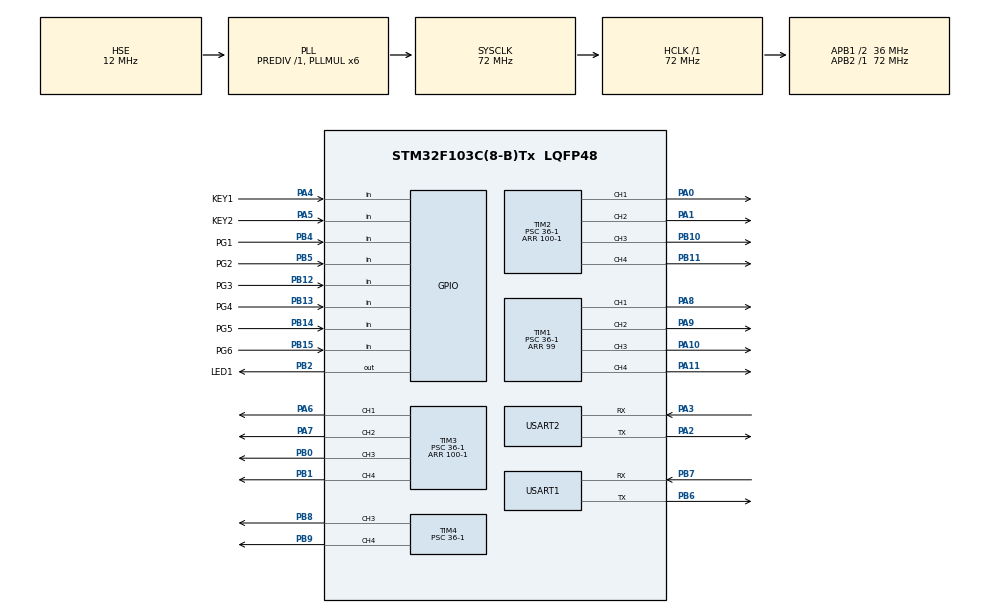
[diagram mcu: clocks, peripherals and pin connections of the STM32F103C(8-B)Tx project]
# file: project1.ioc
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Dma.Request0=USART1_RX
Dma.Request1=USART2_RX
Dma.USART1_RX.0.Direction=DMA_PERIPH_TO_MEMORY
Dma.USART1_RX.0.Instance=DMA1_Channel5
Dma.USART1_RX.0.MemDataAlignment=DMA_MDATAALIGN_BYTE
Dma.USART1_RX.0.MemInc=DMA_MINC_ENABLE
Dma.USART1_RX.0.Mode=DMA_NORMAL
Dma.USART1_RX.0.PeriphDataAlignment=DMA_PDATAALIGN_BYTE
Dma.USART1_RX.0.PeriphInc=DMA_PINC_DISABLE
Dma.USART1_RX.0.Priority=DMA_PRIORITY_LOW
Dma.USART2_RX.1.Direction=DMA_PERIPH_TO_MEMORY
Dma.USART2_RX.1.Instance=DMA1_Channel6
Dma.USART2_RX.1.MemDataAlignment=DMA_MDATAALIGN_BYTE
Dma.USART2_RX.1.MemInc=DMA_MINC_ENABLE
Dma.USART2_RX.1.Mode=DMA_NORMAL
Dma.USART2_RX.1.PeriphDataAlignment=DMA_PDATAALIGN_BYTE
Dma.USART2_RX.1.PeriphInc=DMA_PINC_DISABLE
Dma.USART2_RX.1.Priority=DMA_PRIORITY_LOW
Mcu.Family=STM32F1
Mcu.Name=STM32F103C(8-B)Tx
Mcu.Package=LQFP48
NVIC.DMA1_Channel5_IRQn=true\:0\:0\:false\:false\:true\:false\:true\:true
NVIC.DMA1_Channel6_IRQn=true\:0\:0\:false\:false\:true\:false\:true\:true
NVIC.PriorityGroup=NVIC_PRIORITYGROUP_4
NVIC.TIM4_IRQn=true\:1\:0\:true\:false\:true\:true\:true\:true
NVIC.USART1_IRQn=true\:2\:0\:true\:false\:true\:true\:true\:true
NVIC.USART2_IRQn=true\:3\:0\:true\:false\:true\:true\:true\:true
PA0-WKUP.Signal=S_TIM2_CH1_ETR
PA1.Signal=S_TIM2_CH2
PA10.Signal=S_TIM1_CH3
PA11.Signal=S_TIM1_CH4
PA13.Mode=Serial_Wire
PA13.Signal=SYS_JTMS-SWDIO
PA14.Mode=Serial_Wire
PA14.Signal=SYS_JTCK-SWCLK
PA2.Mode=Asynchronous
PA2.Signal=USART2_TX
PA3.Mode=Asynchronous
PA3.Signal=USART2_RX
PA4.GPIO_Label=KEY1
PA4.GPIO_PuPd=GPIO_PULLUP
PA4.Signal=GPIO_Input
PA5.GPIO_Label=KEY2
PA5.GPIO_PuPd=GPIO_PULLUP
PA5.Signal=GPIO_Input
PA6.Signal=S_TIM3_CH1
PA7.Signal=S_TIM3_CH2
PA8.Signal=S_TIM1_CH1
PA9.Signal=S_TIM1_CH2
PB0.Signal=S_TIM3_CH3
PB1.Signal=S_TIM3_CH4
PB10.Signal=S_TIM2_CH3
PB11.Signal=S_TIM2_CH4
PB12.GPIO_Label=PG3
PB12.GPIO_PuPd=GPIO_PULLUP
PB12.Signal=GPIO_Input
PB13.GPIO_Label=PG4
PB13.GPIO_PuPd=GPIO_PULLUP
PB13.Signal=GPIO_Input
PB14.GPIO_Label=PG5
PB14.GPIO_PuPd=GPIO_PULLUP
PB14.Signal=GPIO_Input
PB15.GPIO_Label=PG6
PB15.GPIO_PuPd=GPIO_PULLUP
PB15.Signal=GPIO_Input
PB2.GPIO_Label=LED1
PB2.GPIO_PuPd=GPIO_NOPULL
PB2.PinState=GPIO_PIN_SET
PB2.Signal=GPIO_Output
PB4.GPIO_Label=PG1
PB4.GPIO_PuPd=GPIO_PULLUP
PB4.Signal=GPIO_Input
PB5.GPIO_Label=PG2
PB5.GPIO_PuPd=GPIO_PULLUP
PB5.Signal=GPIO_Input
PB6.Mode=Asynchronous
PB6.Signal=USART1_TX
PB7.Mode=Asynchronous
PB7.Signal=USART1_RX
PB8.Signal=S_TIM4_CH3
PB9.Signal=S_TIM4_CH4
PD0-OSC_IN.Mode=HSE-External-Oscillator
PD0-OSC_IN.Signal=RCC_OSC_IN
PD1-OSC_OUT.Mode=HSE-External-Oscillator
PD1-OSC_OUT.Signal=RCC_OSC_OUT
ProjectManager.HeapSize=0x200
ProjectManager.StackSize=0x400
ProjectManager.TargetToolchain=STM32CubeIDE
RCC.AHBFreq_Value=72000000
RCC.APB1CLKDivider=RCC_HCLK_DIV2
RCC.APB1Freq_Value=36000000
RCC.APB1TimFreq_Value=72000000
RCC.APB2Freq_Value=72000000
RCC.APB2TimFreq_Value=72000000
RCC.HCLKFreq_Value=72000000
RCC.HSE_VALUE=12000000
RCC.PLLMUL=RCC_PLL_MUL6
RCC.PLLSourceVirtual=RCC_PLLSOURCE_HSE
RCC.SYSCLKFreq_VALUE=72000000
RCC.SYSCLKSource=RCC_SYSCLKSOURCE_PLLCLK
RCC.USBFreq_Value=72000000
SH.S_TIM1_CH1.0=TIM1_CH1,PWM Generation1 CH1
SH.S_TIM1_CH2.0=TIM1_CH2,PWM Generation2 CH2
SH.S_TIM1_CH3.0=TIM1_CH3,PWM Generation3 CH3
SH.S_TIM1_CH4.0=TIM1_CH4,PWM Generation4 CH4
SH.S_TIM2_CH1_ETR.0=TIM2_CH1,PWM Generation1 CH1
SH.S_TIM2_CH2.0=TIM2_CH2,PWM Generation2 CH2
SH.S_TIM2_CH3.0=TIM2_CH3,PWM Generation3 CH3
SH.S_TIM2_CH4.0=TIM2_CH4,PWM Generation4 CH4
SH.S_TIM3_CH1.0=TIM3_CH1,PWM Generation1 CH1
SH.S_TIM3_CH2.0=TIM3_CH2,PWM Generation2 CH2
SH.S_TIM3_CH3.0=TIM3_CH3,PWM Generation3 CH3
SH.S_TIM3_CH4.0=TIM3_CH4,PWM Generation4 CH4
SH.S_TIM4_CH3.0=TIM4_CH3,PWM Generation3 CH3
SH.S_TIM4_CH4.0=TIM4_CH4,PWM Generation4 CH4
TIM1.Channel-PWM\ Generation1\ CH1=TIM_CHANNEL_1
TIM1.Channel-PWM\ Generation2\ CH2=TIM_CHANNEL_2
TIM1.Channel-PWM\ Generation3\ CH3=TIM_CHANNEL_3
TIM1.Channel-PWM\ Generation4\ CH4=TIM_CHANNEL_4
TIM1.Period=99
TIM1.Prescaler=36-1
TIM2.Channel-PWM\ Generation1\ CH1=TIM_CHANNEL_1
TIM2.Channel-PWM\ Generation2\ CH2=TIM_CHANNEL_2
TIM2.Channel-PWM\ Generation3\ CH3=TIM_CHANNEL_3
TIM2.Channel-PWM\ Generation4\ CH4=TIM_CHANNEL_4
TIM2.Period=100-1
TIM2.Prescaler=36-1
TIM3.Channel-PWM\ Generation1\ CH1=TIM_CHANNEL_1
TIM3.Channel-PWM\ Generation2\ CH2=TIM_CHANNEL_2
TIM3.Channel-PWM\ Generation3\ CH3=TIM_CHANNEL_3
TIM3.Channel-PWM\ Generation4\ CH4=TIM_CHANNEL_4
TIM3.Period=100-1
TIM3.Prescaler=36-1
TIM4.Channel-PWM\ Generation3\ CH3=TIM_CHANNEL_3
TIM4.Channel-PWM\ Generation4\ CH4=TIM_CHANNEL_4
TIM4.Period=100-1
TIM4.Prescaler=36-1
USART1.VirtualMode=VM_ASYNC
USART2.VirtualMode=VM_ASYNC
VP_TIM1_VS_ClockSourceINT.Mode=Internal
VP_TIM2_VS_ClockSourceINT.Mode=Internal
VP_TIM3_VS_ClockSourceINT.Mode=Internal
VP_TIM4_VS_ClockSourceINT.Mode=Internal
board=custom

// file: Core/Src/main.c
/* USER CODE BEGIN Header */
/**
  ******************************************************************************
  * @file           : main.c
  * @brief          : Main program body
  ******************************************************************************
  * @attention
  *
  * Copyright (c) 2025 STMicroelectronics.
  * All rights reserved.
  *
  * This software is licensed under terms that can be found in the LICENSE file
  * in the root directory of this software component.
  * If no LICENSE file comes with this software, it is provided AS-IS.
  *
  ******************************************************************************
  */
/* USER CODE END Header */
#include "main.h"
#include "dma.h"
#include "tim.h"
#include "usart.h"
#include "gpio.h"

/* USER CODE BEGIN Includes */
#include "pump.h"
#include "command.h"
#include "motor.h"
#include "string.h"
#include <stdio.h>
/* USER CODE END Includes */

/* USER CODE BEGIN PV */
//extern bool flag_PG[PG_Z_Number];

/* USER CODE END PV */

void SystemClock_Config(void);

int main(void)
{

  /* MCU Configuration--------------------------------------------------------*/

  /* Reset of all peripherals, Initializes the Flash interface and the Systick. */
  HAL_Init();

  /* Configure the system clock */
  SystemClock_Config();

  /* Initialize all configured peripherals */
  MX_GPIO_Init();
  MX_DMA_Init();
  MX_TIM1_Init();
  MX_TIM2_Init();
  MX_TIM3_Init();
  MX_TIM4_Init();
  MX_USART1_UART_Init();
  MX_USART2_UART_Init();
  /* USER CODE BEGIN 2 */
    HAL_Delay(2000);
    //测试

    HAL_TIM_PWM_Start(&htim1, TIM_CHANNEL_1);
    HAL_TIM_PWM_Start(&htim1, TIM_CHANNEL_2);
    HAL_TIM_PWM_Start(&htim1, TIM_CHANNEL_3);
    HAL_TIM_PWM_Start(&htim1, TIM_CHANNEL_4);
    HAL_TIM_PWM_Start(&htim2, TIM_CHANNEL_1);
    HAL_TIM_PWM_Start(&htim2, TIM_CHANNEL_2);
    HAL_TIM_PWM_Start(&htim2, TIM_CHANNEL_3);
    HAL_TIM_PWM_Start(&htim2, TIM_CHANNEL_4);
    HAL_TIM_PWM_Start(&htim3, TIM_CHANNEL_1);
    HAL_TIM_PWM_Start(&htim3, TIM_CHANNEL_2);
    HAL_TIM_PWM_Start(&htim3, TIM_CHANNEL_3);
    HAL_TIM_PWM_Start(&htim3, TIM_CHANNEL_4);
    HAL_TIM_PWM_Start(&htim4, TIM_CHANNEL_1);
    HAL_TIM_PWM_Start(&htim4, TIM_CHANNEL_2);
    HAL_TIM_PWM_Start(&htim4, TIM_CHANNEL_3);
    HAL_TIM_PWM_Start(&htim4, TIM_CHANNEL_4);

    motor_no();
    pump_set_no();

//    uint8_t message1[]={0xB8,0xB4,0xCE,0xBB,0xD6,0xD0};
//    sendMessage(message1,6);
//    HAL_Delay(100000);
//    motor_forward();
//    HAL_Delay(3000);
//    motor_no();

//    pump_set_no();
//    pump_set_no();
//    motor_forward();
//    HAL_Delay(2000);
//    motor_back();
//    HAL_Delay(2000);
//    motor_no();
//    HAL_Delay(10000);
//    UART_Command_Init();

//    while (1)
//    {
//        HAL_Delay(1000);
//        HAL_GPIO_TogglePin(LED1_GPIO_Port,LED1_Pin);
//        uint8_t temp[32]={};
//        sprintf(temp,"abccd");
//        HAL_UART_Transmit(&huart2,temp,4,1000);
//        PG_read_motor();
//        for(int i=0;i<4;i++) {
//            if (flag_PG_motor[i]) {
//                sprintf(temp, "%d=high",i);
//                HAL_UART_Transmit(&huart2, (uint8_t *) temp, 10, 1000);
//            }
//            else {
//                sprintf(temp, "%d=low",i);
//                HAL_UART_Transmit(&huart2, (uint8_t *) temp, 10, 1000);
//            }
//        }
//        PG_read_pump();
//        for(int i=0;i<2;i++) {
//            if (flag_PG_pump[i]) {
//                sprintf(temp, "aa%d=low",i);
//                HAL_UART_Transmit(&huart2, (uint8_t *) temp, 10, 1000);
//            }
//            else {
//                sprintf(temp, "aa%d=high",i);
//                HAL_UART_Transmit(&huart2, (uint8_t *) temp, 10, 1000);
//            }
//        }
//    }

//    __HAL_TIM_SET_COMPARE(&htim4, TIM_CHANNEL_3, 50);
//    __HAL_TIM_SET_COMPARE(&htim4, TIM_CHANNEL_4, 50);
//    HAL_Delay(100000);

//    motor_back();
//    HAL_Delay(5000);
//    motor_forward();
//    pump_set_out();
//    HAL_Delay(100000);
//    motor_back();
//    HAL_Delay(8000);
//    motor_no();
//    HAL_Delay(4000000);
//    motor_back();
//    HAL_Delay(10000);
//    motor_no();
//    HAL_Delay(4000);
//    motor_forward();
//    HAL_Delay(5000);
    PG_read_motor();
    PG_read_pump();
    HAL_Delay(100);
    UART_Command_Init();
    uint8_t message[]={0xB8,0xB4,0xCE,0xBB,0xD6,0xD0};
    sendMessage(message,6);
    HAL_Delay(1);
    sendMessage(message,6);
    //已到达位置
    if(flag_PG_motor[3])
    {

    }
    //未到达初始位置
    else
    {
        //中文：复位中
        uint8_t message[]={0xB8,0xB4,0xCE,0xBB,0xD6,0xD0};
        sendMessage(message,6);
        HAL_Delay(1);
        sendMessage(message,6);
        motor_back();
        uint32_t time_count=0;
        while (!flag_PG_motor[3])
        {
            PG_read_motor();
            if(flag_PG_motor[0]||flag_PG_motor[1]||flag_PG_motor[2])
                break;
            HAL_Delay(10);
            time_count+=10;
            if(time_count>50000)
                break;
        }
        motor_no();

        motor_forward();
        while (!flag_PG_motor[3])
        {
            PG_read_motor();
            HAL_Delay(10);
        }
        motor_no();
    }

    // 中文：复位完成
    HAL_Delay(100);
    uint8_t message1[]={0xB8,0xB4,0xCE,0xBB,0xCD,0xEA,0xB3,0xC9
    };
    sendMessage(message1,8);
    HAL_Delay(10);
    uint8_t message_1[]={0xB8,0xB4,0xCE,0xBB,0xCD,0xEA,0xB3,0xC9
    };
    sendMessage(message_1,8);
    HAL_Delay(10);

    //WriteToFlash((uint32_t*)&pump_delay_time_50[0], (uint32_t*)&pump_delay_time_100[0]);
    ReadFromFlash((uint32_t*)&pump_delay_time_50[0], (uint32_t*)&pump_delay_time_100[0]);

    /*******/
  /* USER CODE END 2 */

  /* Infinite loop */
  while (1)
  {

    /* USER CODE BEGIN 3 */
//      HAL_Delay(100000000);
    //假设收到命令，开始工作
//    if(flag_200||flag_100||flag_50) {
//        while (1) {
//            PG_read_pump();
//            // 说明此时Y轴并没有到达合适位置
//            if (!flag_PG_pump[1]) {
//
//                //屏幕显示，或者蜂鸣器叫之类的
//                page_warn();
//                flag_100 = false;
//                flag_200 = false;
//                flag_50 = false;
//                break;
//            } else {
//                break;
//            }
//            HAL_Delay(200);
//        }
//
//        // Z轴开始下降
//        if (flag_200) {
//            motor_back();
////            while ((!flag_PG_motor[2])&&flag_200) {
//            while ((!flag_PG_motor[1])&&flag_200) {
//                PG_read_motor();
//                HAL_Delay(10);
//            }
//            motor_no();
//        } else if (flag_100) {
//            motor_back();
////            while ((!flag_PG_motor[1])&&flag_100) {
//            while ((!flag_PG_motor[0])&&flag_100) {
//                PG_read_motor();
//                HAL_Delay(10);
//            }
//            motor_no();
//        }else if (flag_50) {
//            motor_back();
////            while ((!flag_PG_motor[1])&&flag_100) {
//            while ((!flag_PG_motor[2])&&flag_50) {
//                PG_read_motor();
//                HAL_Delay(10);
//            }
//            motor_no();
//        }
//
//        if (flag_200 || flag_100 || flag_50) {
//            //下降完成后，开始吸
//            pump_set_in();
//            //中文：抽取中
//            uint8_t message[] = {0xB3, 0xE9, 0xC8, 0xA1, 0xD6, 0xD0};
//            sendMessage(message, 6);
//            // 这里要等待一个标志位，等待人把打开漏斗阀门,收取沉淀液；
//            while ((!flag_xiqu)&&(flag_200 || flag_100|| flag_50)) {
//                HAL_Delay(10);
//
//            }
//            pump_set_no();
//            if(flag_200 || flag_100|| flag_50){
//                pump_set_no();
//                HAL_Delay(100);
//                // 中文：等待用户操作
//                uint8_t message[] = {0xB5, 0xC8, 0xB4, 0xFD, 0xD3, 0xC3, 0xBB, 0xA7, 0xB2, 0xD9, 0xD7, 0xF7
//                };
//                sendMessage(message, 12);
//            }
//            while ((!flag_shouqu)&&(flag_200 || flag_100|| flag_50)) {
//                HAL_Delay(10);
//            }
//            if(flag_200 || flag_100|| flag_50) {
//                //中文：清洗中
//                uint8_t message_q[] = {0xC7, 0xE5, 0xCF, 0xB4, 0xD6, 0xD0
//                };
//                sendMessage(message_q, 6);
//                // 接下来下降
//                motor_back();
//            }
//            while ((!flag_PG_motor[0])&&(flag_200 || flag_100|| flag_50)) {
//                PG_read_motor();
//                HAL_Delay(10);
//            }
//            if(flag_200 || flag_100|| flag_50) {
//                motor_no();
//                //接下来 开始喷水5s；
//                pump_set_out();
//
//                uint16_t time=0;
//                while (time<10000 && (flag_200 || flag_100|| flag_50))
//                {
//                    HAL_Delay(100);
//                    time+=100;
//                }
//                //接下来开始上升，同时喷水
//                if (flag_200 || flag_100|| flag_50)
//                    motor_forward();
//            }
//            //上升到200ml
////            while ((!flag_PG_motor[2]) &&(flag_200 || flag_100)){
//            while ((!flag_PG_motor[2]) &&(flag_200 || flag_100|| flag_50)){
//                PG_read_motor();
//                HAL_Delay(10);
//            }
//            if(flag_200 || flag_100|| flag_50) {
//                HAL_Delay(400);
//                pump_set_no();
//            }
//            //接下来上升到最高处即初始复位位置即可
//            while ((!flag_PG_motor[3])&&(flag_200 || flag_100|| flag_50)) {
//                PG_read_motor();
//                HAL_Delay(10);
//            }
//            if(flag_200 || flag_100|| flag_50) {
//                //清掉一些标志量，同时控制屏幕显示，或者蜂鸣器
//                HAL_UART_Transmit(&huart2, (uint8_t *) "end", 10, 1000);
//                // 中文：操作完成
//                uint8_t message_f[] = {0xB2, 0xD9, 0xD7, 0xF7, 0xCD, 0xEA, 0xB3, 0xC9
//                };
//                sendMessage(message_f, 8);
//            }
//        }
//        // 中文：操作完成
//        uint8_t message_f[] = {0xB2, 0xD9, 0xD7, 0xF7, 0xCD, 0xEA, 0xB3, 0xC9
//        };
//        sendMessage(message_f, 8);
//        motor_no();
//        pump_set_no();
//        flag_200 = false;
//        flag_100 = false;
//        flag_50 = false;
//        flag_shouqu = false;
//        flag_xiqu = false;
//    }
      if(flag_reset)
      {
          __set_FAULTMASK(1);
          HAL_NVIC_SystemReset();
      }
      if(flag_200||flag_100||flag_50) {
//          while (1) {
//              PG_read_pump();
//              // 说明此时Y轴并没有到达合适位置
//              if (!flag_PG_pump[1]) {
//
//                  //屏幕显示，或者蜂鸣器叫之类的
//                  page_warn();
//                  flag_100 = false;
//                  flag_200 = false;
//                  flag_50 = false;
//                  break;
//              } else {
//                  break;
//              }
//              HAL_Delay(200);
//          }

//          pump_test();
//
//          motor_back();
////            while ((!flag_PG_motor[2])&&flag_200) {
//              while ((!flag_PG_motor[2])&&flag_50) {
//                  PG_read_motor();
//                  HAL_Delay(10);
//              }

//            motor_no_no_delay();
//              pump_set_in();
//          HAL_Delay(10000);
//              pump_set_no();
//          HAL_Delay(1000);
//              pump_set_out_different_times();
//          HAL_Delay(6000);

          // Z轴开始下降
          if (flag_200) {
              motor_back();
//            while ((!flag_PG_motor[2])&&flag_200) {
              while ((!flag_PG_motor[1])&&flag_200) {
                  PG_read_motor();
                  HAL_Delay(1);
              }
              motor_no();
          } else if (flag_100) {
              motor_back();
//            while ((!flag_PG_motor[1])&&flag_100) {
              while ((!flag_PG_motor[1])&&flag_100) {
                  PG_read_motor();
                  HAL_Delay(1);
              }
              HAL_Delay(50);
              while ((flag_PG_motor[1])&&flag_100) {
                  PG_read_motor();
                  HAL_Delay(1);
              }
              motor_no();
              motor_forward();
              while ((!flag_PG_motor[1])&&flag_100) {
                  PG_read_motor();
                  HAL_Delay(1);
              }
              motor_no_no_delay();
          }else if (flag_50) {
              motor_back();
//            while ((!flag_PG_motor[1])&&flag_100) {
              while ((!flag_PG_motor[0])&&flag_50) {
                  PG_read_motor();
                  HAL_Delay(1);
              }
              motor_no_no_delay();
          }

          if (flag_200 || flag_100 || flag_50) {
              //下降完成后，开始吸
              pump_set_in();
              //中文：抽取中
              uint8_t message[] = {0xB3, 0xE9, 0xC8, 0xA1, 0xD6, 0xD0};
              sendMessage(message, 6);
              // 时间需要修改
              uint32_t delay_time=180000;
              uint32_t time_count=0;
              while (time_count<delay_time&&(flag_200 || flag_100|| flag_50))
              {
                  HAL_Delay(10);
                  time_count+=10;
              }

              if(flag_200 || flag_100|| flag_50) {
                  pump_set_no();
              }
              if(flag_200 || flag_100|| flag_50) {
                  //中文：清洗中
                  uint8_t message_q[] = {0xC7, 0xE5, 0xCF, 0xB4, 0xD6, 0xD0
                  };
                  sendMessage(message_q, 6);
                  // 接下来上升
                  motor_forward();
                  while ((!flag_PG_motor[2])&&(flag_200 || flag_100|| flag_50)) {
                      PG_read_motor();
                      HAL_Delay(10);
                  }
                  motor_no_no_delay();
                  if (flag_100)
                    pump_set_out_different_times_100ml();
                  if(flag_50)
                      pump_set_out_different_times_50ml();
                  uint16_t time=0;
                  while (time<5000 && (flag_200 || flag_100|| flag_50))
                  {
                      HAL_Delay(10);
                      time+=10;
                  }pump_set_no_no_delay();
                  motor_forward();
                  while ((!flag_PG_motor[3])&&(flag_200 || flag_100|| flag_50)) {
                      PG_read_motor();
                      HAL_Delay(10);
                  }
                  if(flag_200 || flag_100|| flag_50) {

                      // 中文：操作完成
                      uint8_t message_f[] = {0xB2, 0xD9, 0xD7, 0xF7, 0xCD, 0xEA, 0xB3, 0xC9
                      };
                      sendMessage(message_f, 8);
                  }
              }
          }
          // 中文：操作完成
          uint8_t message_f[] = {0xB2, 0xD9, 0xD7, 0xF7, 0xCD, 0xEA, 0xB3, 0xC9
          };
          sendMessage(message_f, 8);
          HAL_TIM_Base_Stop_IT(&htim4);
          motor_no();
          pump_set_no();
          flag_200 = false;
          flag_100 = false;
          flag_50 = false;
          flag_shouqu = false;
          flag_xiqu = false;
      }

    if(flag_mf&&(!flag_ms))
    {
        motor_forward();
        HAL_Delay(10);
        // 中文： 电机上升中
        uint8_t message_f[]={0xB5,0xE7,0xBB,0xFA,0xC9,0xCF,0xC9,0xFD,0xD6,0xD0
        };
        sendMessage(message_f,10);

        PG_read_motor();
        if(flag_PG_motor[3])
        {
            flag_mf=false;
            motor_no();
            //flag_ms=true;
            //中文：电机到达最顶部
            uint8_t message_f[]={0xB5,0xE7,0xBB,0xFA,0xB5,0xBD,0xB4,0xEF,0xD7,0xEE,0xB6,0xA5,0xB2,0xBF
            };
            sendMessage(message_f,14);

        }
    }
    else if(flag_mb&&(!flag_ms)) {
        motor_back();
        HAL_Delay(10);
//        sendMessage("Motor Descending");
        // 中文： 电机下降中
        uint8_t message_f[]={ 0xB5,0xE7,0xBB,0xFA,0xCF,0xC2,0xBD,0xB5,0xD6,0xD0
                               };
        sendMessage(message_f,10);
        PG_read_motor();
        if(flag_PG_motor[0])
        {
            flag_mb=false;
            motor_no();
            //flag_ms=true;

            // 电机到达最底部
            uint8_t message_f[]={  0xB5,0xE7,0xBB,0xFA,0xB5,0xBD,0xB4,0xEF,0xD7,0xEE,0xB5,0xD7,0xB2,0xBF
            };
            sendMessage(message_f,14);
        }
    }
    if(flag_ms)
    {
        // 中文：电机停止运动
        uint8_t message_f[]={0xB5,0xE7,0xBB,0xFA,0xCD,0xA3,0xD6,0xB9,0xD4,0xCB,0xB6,0xAF
        };
        sendMessage(message_f,12);
        motor_no();
        HAL_Delay(10);
        flag_ms=false;

    }

      if(flag_po&&(!flag_ps))
      {
          // 中文：清洗中
          uint8_t message_f[]={    0xC7,0xE5,0xCF,0xB4,0xD6,0xD0
          };
          sendMessage(message_f,6);
          pump_set_out();
          HAL_Delay(10);

      }
      else if(flag_pi&&(!flag_ps)) {
          pump_set_in();
          HAL_Delay(10);
          ///sendMessage("Extracting");
          // 中文：抽取中
          uint8_t message_f[]={      0xB3,0xE9,0xC8,0xA1,0xD6,0xD0
          };
          sendMessage(message_f,6);
      }
      if(flag_ps)
      {
          // 泵停止
          uint8_t message_f[]={        0xB1,0xC3,0xCD,0xA3,0xD6,0xB9
          };
          sendMessage(message_f,6);
          pump_set_no();
          HAL_Delay(10);
          flag_ps=false;
//          sendMessage("Pump stop");

      }

      if(flag_S100)
      {
//          sendMessage("Motor in motion");
            // 中文：电机运动中
          uint8_t message_f[]={0xB5,0xE7,0xBB,0xFA,0xD4,0xCB,0xB6,0xAF,0xD6,0xD0
          };
          sendMessage(message_f,10);
          // 先下降
          motor_back();
          while (!flag_ms)
          {
              HAL_Delay(10);
              PG_read_motor();
              if(flag_PG_motor[0])
              {
                  motor_no();
                  break;
              }
//              //触底了
//              if(flag_PG_motor[0])
//              {
//                  motor_no();
//                  motor_forward();
//                  HAL_Delay(1000);
//                  while (1)
//                  {
//                      HAL_Delay(10);
//                      PG_read_motor();
//                      if(flag_PG_motor[1])
//                      {
//                          motor_no();
//                          break;
//                      }
//                      else if(flag_PG_motor[3])
//                      {
//                          //理论上不会发生的情况
//                          break;
//                      }
//                  }
//                  break;
//              }
//              //正好找到了
//              else if(flag_PG_motor[1])
//              {
//                  motor_no();
//                  break;
//              }
          }
          flag_S100=false;
//          sendMessage("Motor finish");
            // 电机运动完成
          uint8_t message[]={0xB5,0xE7,0xBB,0xFA,0xD4,0xCB,0xB6,0xAF,0xCD,0xEA,0xB3,0xC9
          };
          sendMessage(message,12);

      }
      else if(flag_S200)
      {
          //sendMessage("Motor in motion");
          //中文：电机运动中
          uint8_t message_f[]={0xB5,0xE7,0xBB,0xFA,0xD4,0xCB,0xB6,0xAF,0xD6,0xD0
          };
          sendMessage(message_f,10);
          // 先下降
          motor_back();
          while (!flag_ms)
          {
              HAL_Delay(10);
              PG_read_motor();
              //触底了
              if(flag_PG_motor[0])
              {
                  motor_no();
                  motor_forward();
                  HAL_Delay(1000);
                  while (1)
                  {
                      PG_read_motor();
                      if(flag_PG_motor[1])
                      {
                          motor_no();
                          break;
                      }
                      else if(flag_PG_motor[2])
                      {
                          //理论上不会发生的情况
                          break;
                      }
                      HAL_Delay(10);
                  }
                  break;
              }
                  //正好找到了
              else if(flag_PG_motor[1])
              {
                  motor_no();
                  break;
              }
          }
          flag_S200=false;
          //sendMessage("Motor finish");
          // 电机运动完成
          uint8_t message[]={0xB5,0xE7,0xBB,0xFA,0xD4,0xCB,0xB6,0xAF,0xCD,0xEA,0xB3,0xC9
          };
          sendMessage(message,12);
      }
      else if(flag_S50)
      {
          //sendMessage("Motor in motion");
          //中文：电机运动中
          uint8_t message_f[]={0xB5,0xE7,0xBB,0xFA,0xD4,0xCB,0xB6,0xAF,0xD6,0xD0
          };
          sendMessage(message_f,10);
          // 先下降
          motor_back();
          while (!flag_ms)
          {
              HAL_Delay(10);
              PG_read_motor();
              //触底了
              if(flag_PG_motor[0])
              {
                  motor_no();
                  break;
              }

          }
          flag_S50=false;
          //sendMessage("Motor finish");
          // 电机运动完成
          uint8_t message[]={0xB5,0xE7,0xBB,0xFA,0xD4,0xCB,0xB6,0xAF,0xCD,0xEA,0xB3,0xC9
          };
          sendMessage(message,12);
      }

  }
  /* USER CODE END 3 */
}

void SystemClock_Config(void)
{
  RCC_OscInitTypeDef RCC_OscInitStruct = {0};
  RCC_ClkInitTypeDef RCC_ClkInitStruct = {0};

  /** Initializes the RCC Oscillators according to the specified parameters
  * in the RCC_OscInitTypeDef structure.
  */
  RCC_OscInitStruct.OscillatorType = RCC_OSCILLATORTYPE_HSE;
  RCC_OscInitStruct.HSEState = RCC_HSE_ON;
  RCC_OscInitStruct.HSEPredivValue = RCC_HSE_PREDIV_DIV1;
  RCC_OscInitStruct.HSIState = RCC_HSI_ON;
  RCC_OscInitStruct.PLL.PLLState = RCC_PLL_ON;
  RCC_OscInitStruct.PLL.PLLSource = RCC_PLLSOURCE_HSE;
  RCC_OscInitStruct.PLL.PLLMUL = RCC_PLL_MUL6;
  if (HAL_RCC_OscConfig(&RCC_OscInitStruct) != HAL_OK)
  {
    Error_Handler();
  }

  /** Initializes the CPU, AHB and APB buses clocks
  */
  RCC_ClkInitStruct.ClockType = RCC_CLOCKTYPE_HCLK|RCC_CLOCKTYPE_SYSCLK
                              |RCC_CLOCKTYPE_PCLK1|RCC_CLOCKTYPE_PCLK2;
  RCC_ClkInitStruct.SYSCLKSource = RCC_SYSCLKSOURCE_PLLCLK;
  RCC_ClkInitStruct.AHBCLKDivider = RCC_SYSCLK_DIV1;
  RCC_ClkInitStruct.APB1CLKDivider = RCC_HCLK_DIV2;
  RCC_ClkInitStruct.APB2CLKDivider = RCC_HCLK_DIV1;

  if (HAL_RCC_ClockConfig(&RCC_ClkInitStruct, FLASH_LATENCY_2) != HAL_OK)
  {
    Error_Handler();
  }
}

void Error_Handler(void)
{
  __disable_irq();
  while (1)
  {
  }
}
